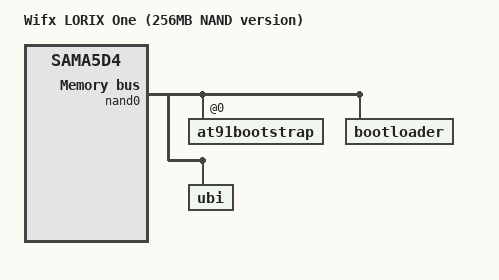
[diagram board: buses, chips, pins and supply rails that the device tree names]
/*
 * lorix-one.dts
 *  Device Tree file for the LORIX One (256MB) LoRa gateway from
 *  Wifx Sàrl
 *
 *  Copyright (C) 2018 Wifx,
 *                2018 Yannick Lanz <yannick.lanz@wifx.net>
 *
 * This file is dual-licensed: you can use it either under the terms
 * of the GPL or the X11 license, at your option. Note that this dual
 * licensing only applies to this file, and not this project as a
 * whole.
 *
 *  a) This file is free software; you can redistribute it and/or
 *     modify it under the terms of the GNU General Public License as
 *     published by the Free Software Foundation; either version 2 of the
 *     License, or (at your option) any later version.
 *
 *     This file is distributed in the hope that it will be useful,
 *     but WITHOUT ANY WARRANTY; without even the implied warranty of
 *     MERCHANTABILITY or FITNESS FOR A PARTICULAR PURPOSE.  See the
 *     GNU General Public License for more details.
 *
 * Or, alternatively,
 *
 *  b) Permission is hereby granted, free of charge, to any person
 *     obtaining a copy of this software and associated documentation
 *     files (the "Software"), to deal in the Software without
 *     restriction, including without limitation the rights to use,
 *     copy, modify, merge, publish, distribute, sublicense, and/or
 *     sell copies of the Software, and to permit persons to whom the
 *     Software is furnished to do so, subject to the following
 *     conditions:
 *
 *     The above copyright notice and this permission notice shall be
 *     included in all copies or substantial portions of the Software.
 *
 *     THE SOFTWARE IS PROVIDED "AS IS", WITHOUT WARRANTY OF ANY KIND,
 *     EXPRESS OR IMPLIED, INCLUDING BUT NOT LIMITED TO THE WARRANTIES
 *     OF MERCHANTABILITY, FITNESS FOR A PARTICULAR PURPOSE AND
 *     NONINFRINGEMENT. IN NO EVENT SHALL THE AUTHORS OR COPYRIGHT
 *     HOLDERS BE LIABLE FOR ANY CLAIM, DAMAGES OR OTHER LIABILITY,
 *     WHETHER IN AN ACTION OF CONTRACT, TORT OR OTHERWISE, ARISING
 *     FROM, OUT OF OR IN CONNECTION WITH THE SOFTWARE OR THE USE OR
 *     OTHER DEALINGS IN THE SOFTWARE.
 */
/dts-v1/;
#include "lorix-one-base.dtsi"

/ {
	model = "Wifx LORIX One (256MB NAND version)";
	compatible = "wifx,lorix-one", "atmel,sama5d4", "atmel,sama5";

	ahb {
		nand0: nand@80000000 {
			nand-bus-width = <8>;
			nand-ecc-mode = "hw";
			nand-on-flash-bbt;
			atmel,has-pmecc;
			atmel,pmecc-cap = <4>;
			atmel,pmecc-sector-size = <512>;
			status = "okay";

			at91bootstrap@0 {
				label = "at91bootstrap";
				reg = <0x0 0x40000>;
			};

			bootloader@40000 {
				label = "bootloader";
				reg = <0x40000 0x140000>;
			};

			ubi@180000 {
				label = "ubi";
				reg = <0x180000 0x0FE80000>;
			};
		};
	};
};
